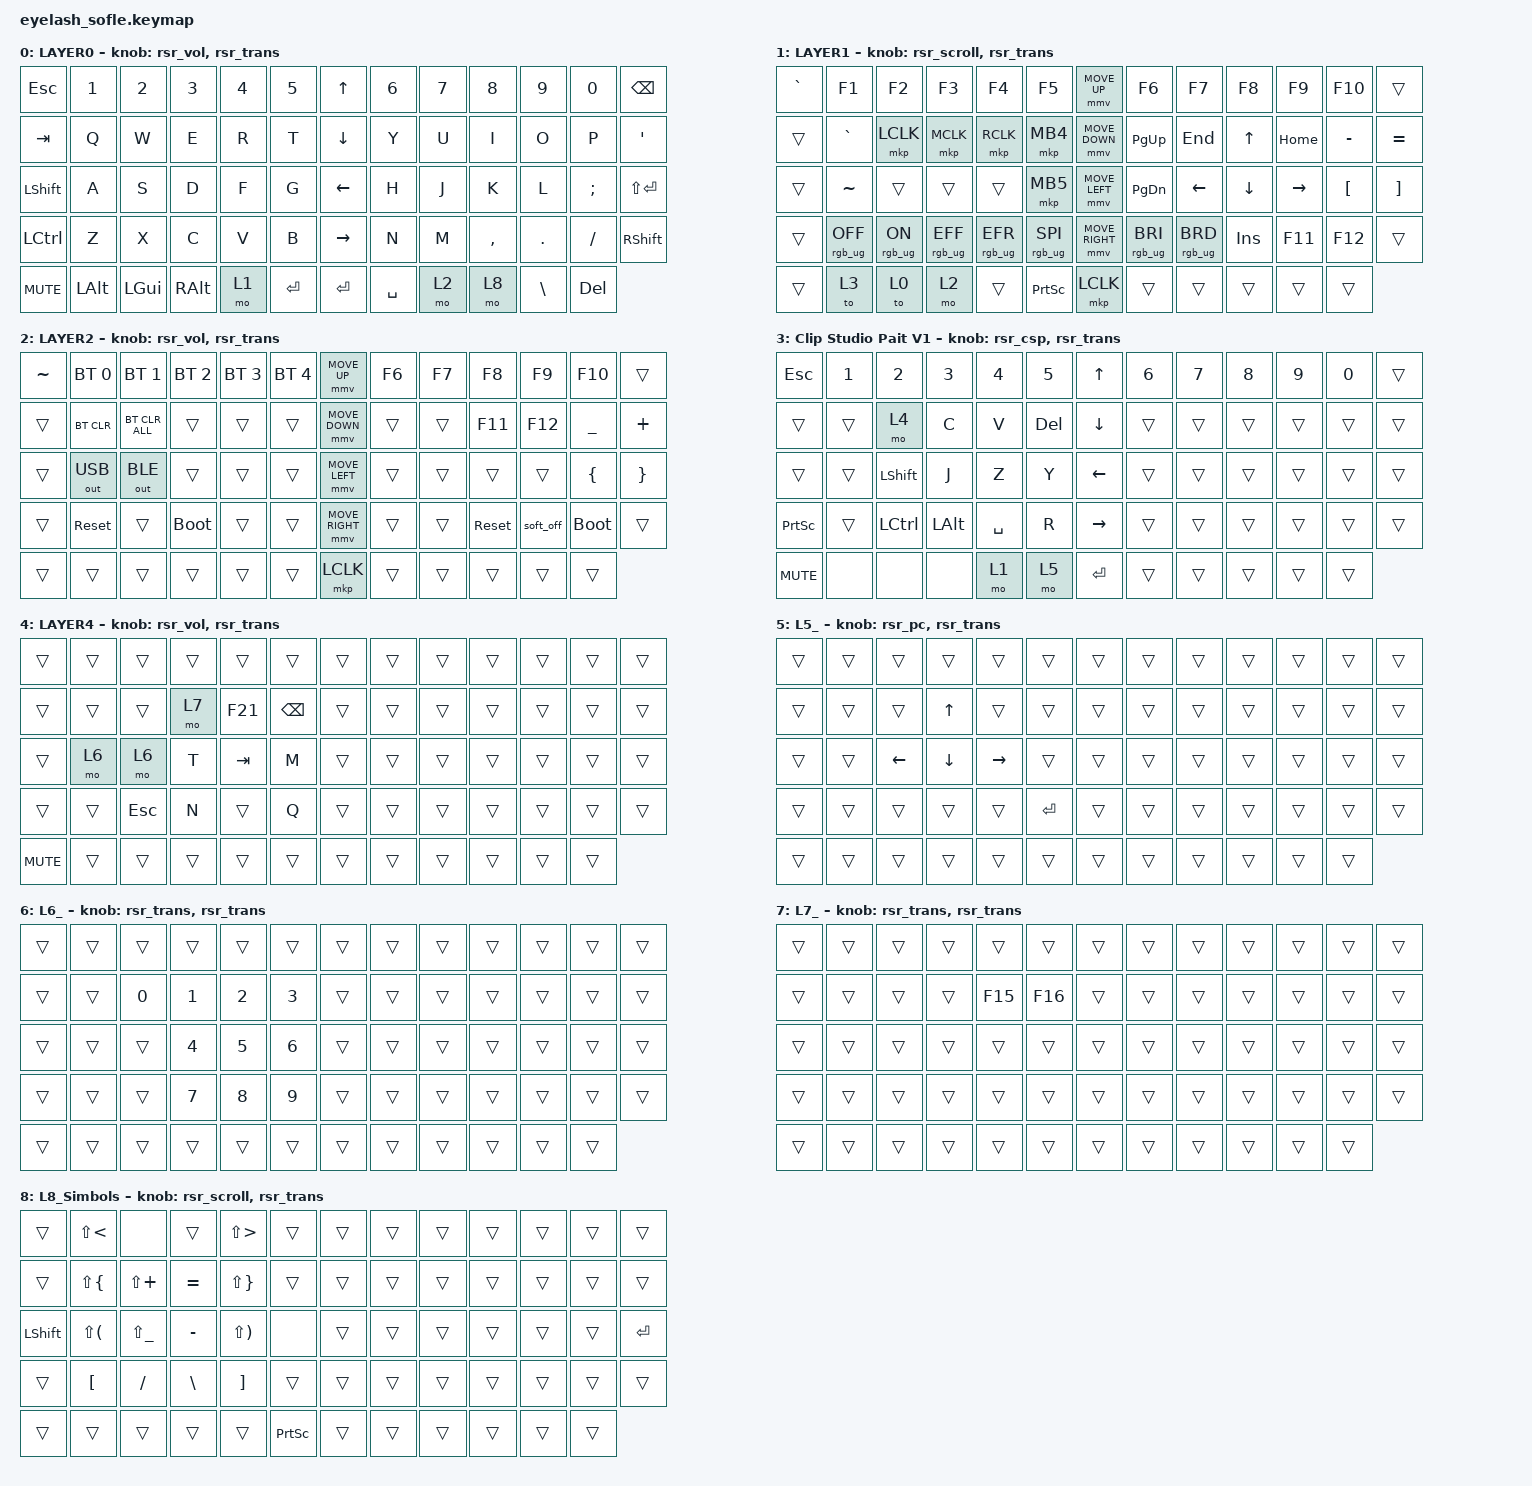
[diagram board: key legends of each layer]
#define ZMK_POINTING_DEFAULT_MOVE_VAL 1200  // 600
#define ZMK_POINTING_DEFAULT_SCRL_VAL 25   // 10

#include <input/processors.dtsi>
#include <zephyr/dt-bindings/input/input-event-codes.h>
#include <behaviors/runtime-sensor-rotate.dtsi>
#include <behaviors.dtsi>
#include <dt-bindings/zmk/bt.h>
#include <dt-bindings/zmk/keys.h>
#include <dt-bindings/zmk/outputs.h>
#include <dt-bindings/zmk/pointing.h>
#include <dt-bindings/zmk/rgb.h>

&mmv_input_listener { input-processors = <&zip_xy_scaler 2 1>; };

&msc_input_listener { input-processors = <&zip_scroll_scaler 2 1>; };

&msc {
    acceleration-exponent = <1>;      // 0
    time-to-max-speed-ms = <100>;       // 300
    delay-ms = <0>;                   // 0
};

&mmv {
    time-to-max-speed-ms = <500>;
    acceleration-exponent = <1>;
    trigger-period-ms = <16>;
};

&soft_off { hold-time-ms = <2000>; };

/ {
    scroll_encoder: scroll_encoder {
        compatible = "zmk,behavior-sensor-rotate";
        #sensor-binding-cells = <0>;
        bindings = <&msc SCRL_DOWN>, <&msc SCRL_UP>;

        tap-ms = <100>;
    };

    behaviors {
        rsr_vol: rsr_vol {
            compatible = "zmk,behavior-runtime-sensor-rotate";
            #sensor-binding-cells = <0>;
            tap-ms = <5>;
            cw-binding = <&kp C_VOL_UP>;
            ccw-binding = <&kp C_VOL_DN>;
        };

        rsr_trans: rsr_trans {
            compatible = "zmk,behavior-runtime-sensor-rotate";
            #sensor-binding-cells = <0>;
            tap-ms = <0>;
        };

        // Scroll por defecto (igual que scroll_encoder), editable desde DYA
        rsr_scroll: rsr_scroll {
            compatible = "zmk,behavior-runtime-sensor-rotate";
            #sensor-binding-cells = <0>;
            tap-ms = <100>;
            cw-binding = <&msc SCRL_DOWN>;
            ccw-binding = <&msc SCRL_UP>;
        };

        // Clip Studio Paint: 2 al girar a la derecha, 1 a la izquierda
        rsr_csp: rsr_csp {
            compatible = "zmk,behavior-runtime-sensor-rotate";
            #sensor-binding-cells = <0>;
            tap-ms = <5>;
            cw-binding = <&kp N2>;
            ccw-binding = <&kp N1>;
        };

        // Punto a la derecha, coma a la izquierda
        rsr_pc: rsr_pc {
            compatible = "zmk,behavior-runtime-sensor-rotate";
            #sensor-binding-cells = <0>;
            tap-ms = <5>;
            cw-binding = <&kp PERIOD>;
            ccw-binding = <&kp COMMA>;
        };
    };

    combos {
        compatible = "zmk,combos";

        softoff {
            bindings = <&soft_off>;
            key-positions = <14 28 40>;
        };
    };

    macros {
        SHIFT_MCLK: SHIFT_MCLK {
            compatible = "zmk,behavior-macro";
            #binding-cells = <0>;
            bindings =
                <&macro_press>,
                <&kp LEFT_SHIFT>,
                <&macro_press>,
                <&mkp MB3>,
                <&macro_pause_for_release>,
                <&macro_release>,
                <&kp LEFT_SHIFT &mkp MB3>;

            label = "SHIFT_MCLK";
        };
    };

    keymap {
        compatible = "zmk,keymap";

        L0_Base {
            bindings = <
&kp ESC     &kp N1    &kp N2        &kp N3    &kp N4  &kp N5       &kp UP_ARROW     &kp N6     &kp N7  &kp N8     &kp N9    &kp N0      &kp BACKSPACE
&kp TAB     &kp Q     &kp W         &kp E     &kp R   &kp T        &kp DOWN_ARROW   &kp Y      &kp U   &kp I      &kp O     &kp P       &kp SINGLE_QUOTE
&kp LSHFT   &kp A     &kp S         &kp D     &kp F   &kp G        &kp LEFT_ARROW   &kp H      &kp J   &kp K      &kp L     &kp SEMI    &kp LS(RET)
&kp LCTRL   &kp Z     &kp X         &kp C     &kp V   &kp B        &kp RIGHT_ARROW  &kp N      &kp M   &kp COMMA  &kp DOT   &kp FSLH    &kp RSHFT
&kp C_MUTE  &kp LALT  &kp LEFT_GUI  &kp RALT  &mo 1   &kp ENTER    &kp ENTER        &kp SPACE  &mo 2   &mo 8      &kp BSLH  &kp DELETE
            >;

            sensor-bindings = <&rsr_vol &rsr_trans>;
            display-name = "LAYER0";
        };

        L1_Fn {
            bindings = <
&kp GRAVE  &kp F1           &kp F2          &kp F3           &kp F4           &kp F5             &mmv MOVE_UP     &kp F6           &kp F7           &kp F8      &kp F9     &kp F10           &trans
&trans     &kp GRAVE        &mkp LCLK       &mkp MCLK        &mkp RCLK        &mkp MB4           &mmv MOVE_DOWN   &kp PG_UP        &kp END          &kp UP      &kp HOME   &kp MINUS         &kp EQUAL
&trans     &kp TILDE        &trans          &trans           &trans           &mkp MB5           &mmv MOVE_LEFT   &kp PG_DN        &kp LEFT         &kp DOWN    &kp RIGHT  &kp LEFT_BRACKET  &kp RIGHT_BRACKET
&trans     &rgb_ug RGB_OFF  &rgb_ug RGB_ON  &rgb_ug RGB_EFF  &rgb_ug RGB_EFR  &rgb_ug RGB_SPI    &mmv MOVE_RIGHT  &rgb_ug RGB_BRI  &rgb_ug RGB_BRD  &kp INSERT  &kp F11    &kp F12           &trans
&trans     &to 3            &to 0           &mo 2            &trans           &kp PRINTSCREEN    &mkp LCLK        &trans           &trans           &trans      &trans     &trans
            >;

            sensor-bindings = <&rsr_scroll &rsr_trans>;

            display-name = "LAYER1";
        };

        L2_Bluetooth {
            bindings = <
&kp TILDE  &bt BT_SEL 0  &bt BT_SEL 1    &bt BT_SEL 2  &bt BT_SEL 3  &bt BT_SEL 4    &mmv MOVE_UP     &kp F6  &kp F7  &kp F8      &kp F9     &kp F10      &trans
&trans     &bt BT_CLR    &bt BT_CLR_ALL  &trans        &trans        &trans          &mmv MOVE_DOWN   &trans  &trans  &kp F11     &kp F12    &kp UNDER    &kp PLUS
&trans     &out OUT_USB  &out OUT_BLE    &trans        &trans        &trans          &mmv MOVE_LEFT   &trans  &trans  &trans      &trans     &kp LBRC     &kp RBRC
&trans     &sys_reset    &trans          &bootloader   &trans        &trans          &mmv MOVE_RIGHT  &trans  &trans  &sys_reset  &soft_off  &bootloader  &trans
&trans     &trans        &trans          &trans        &trans        &trans          &mkp LCLK        &trans  &trans  &trans      &trans     &trans
            >;

            display-name = "LAYER2";
            sensor-bindings = <&rsr_vol &rsr_trans>;
        };

        L3_CSP {
            bindings = <
&kp ESC          &kp N1  &kp N2     &kp N3    &kp N4     &kp N5     &kp UP     &kp N6  &kp N7  &kp N8  &kp N9  &kp N0  &trans
&trans           &trans  &mo 4      &kp C     &kp V      &kp DEL    &kp DOWN   &trans  &trans  &trans  &trans  &trans  &trans
&trans           &trans  &kp LSHFT  &kp J     &kp Z      &kp Y      &kp LEFT   &trans  &trans  &trans  &trans  &trans  &trans
&kp PRINTSCREEN  &trans  &kp LCTRL  &kp LALT  &kp SPACE  &kp R      &kp RIGHT  &trans  &trans  &trans  &trans  &trans  &trans
&kp C_MUTE       &none   &none      &none     &mo 1      &mo 5      &kp RET    &trans  &trans  &trans  &trans  &trans
            >;

            display-name = "Clip Studio Pait V1";
            sensor-bindings = <&rsr_csp &rsr_trans>;
        };

        L4_CSP-2 {
            bindings = <
&trans      &trans  &trans   &trans  &trans   &trans      &trans  &trans  &trans  &trans  &trans  &trans  &trans
&trans      &trans  &trans   &mo 7   &kp F21  &kp BSPC    &trans  &trans  &trans  &trans  &trans  &trans  &trans
&trans      &mo 6   &mo 6    &kp T   &kp TAB  &kp M       &trans  &trans  &trans  &trans  &trans  &trans  &trans
&trans      &trans  &kp ESC  &kp N   &trans   &kp Q       &trans  &trans  &trans  &trans  &trans  &trans  &trans
&kp C_MUTE  &trans  &trans   &trans  &trans   &trans      &trans  &trans  &trans  &trans  &trans  &trans
            >;

            display-name = "LAYER4";
            sensor-bindings = <&rsr_vol &rsr_trans>;
        };

        L5_ {
            bindings = <
&trans  &trans  &trans    &trans    &trans     &trans     &trans  &trans  &trans  &trans  &trans  &trans  &trans
&trans  &trans  &trans    &kp UP    &trans     &trans     &trans  &trans  &trans  &trans  &trans  &trans  &trans
&trans  &trans  &kp LEFT  &kp DOWN  &kp RIGHT  &trans     &trans  &trans  &trans  &trans  &trans  &trans  &trans
&trans  &trans  &trans    &trans    &trans     &kp RET    &trans  &trans  &trans  &trans  &trans  &trans  &trans
&trans  &trans  &trans    &trans    &trans     &trans     &trans  &trans  &trans  &trans  &trans  &trans
            >;

            sensor-bindings = <&rsr_pc &rsr_trans>;
        };

        L6_ {
            bindings = <
&trans  &trans  &trans  &trans  &trans  &trans    &trans  &trans  &trans  &trans  &trans  &trans  &trans
&trans  &trans  &kp N0  &kp N1  &kp N2  &kp N3    &trans  &trans  &trans  &trans  &trans  &trans  &trans
&trans  &trans  &trans  &kp N4  &kp N5  &kp N6    &trans  &trans  &trans  &trans  &trans  &trans  &trans
&trans  &trans  &trans  &kp N7  &kp N8  &kp N9    &trans  &trans  &trans  &trans  &trans  &trans  &trans
&trans  &trans  &trans  &trans  &trans  &trans    &trans  &trans  &trans  &trans  &trans  &trans
            >;

            sensor-bindings = <&rsr_trans &rsr_trans>;
        };

        L7_ {
            bindings = <
&trans  &trans  &trans  &trans  &trans   &trans     &trans  &trans  &trans  &trans  &trans  &trans  &trans
&trans  &trans  &trans  &trans  &kp F15  &kp F16    &trans  &trans  &trans  &trans  &trans  &trans  &trans
&trans  &trans  &trans  &trans  &trans   &trans     &trans  &trans  &trans  &trans  &trans  &trans  &trans
&trans  &trans  &trans  &trans  &trans   &trans     &trans  &trans  &trans  &trans  &trans  &trans  &trans
&trans  &trans  &trans  &trans  &trans   &trans     &trans  &trans  &trans  &trans  &trans  &trans
            >;

            sensor-bindings = <&rsr_trans &rsr_trans>;
        };

        L8_Simbols {
            bindings = <
&trans          &kp LS(LT)    &none          &trans     &kp LS(GT)    &trans             &trans  &trans  &trans  &trans  &trans  &trans  &trans
&trans          &kp LS(LBRC)  &kp LS(PLUS)   &kp EQUAL  &kp LS(RBRC)  &trans             &trans  &trans  &trans  &trans  &trans  &trans  &trans
&kp LEFT_SHIFT  &kp LS(LPAR)  &kp LS(UNDER)  &kp MINUS  &kp LS(RPAR)  &none              &trans  &trans  &trans  &trans  &trans  &trans  &kp ENTER
&trans          &kp LBKT      &kp FSLH       &kp BSLH   &kp RBKT      &trans             &trans  &trans  &trans  &trans  &trans  &trans  &trans
&trans          &trans        &trans         &trans     &trans        &kp PRINTSCREEN    &trans  &trans  &trans  &trans  &trans  &trans
            >;

            sensor-bindings = <&rsr_scroll &rsr_trans>;
        };
    };
};

